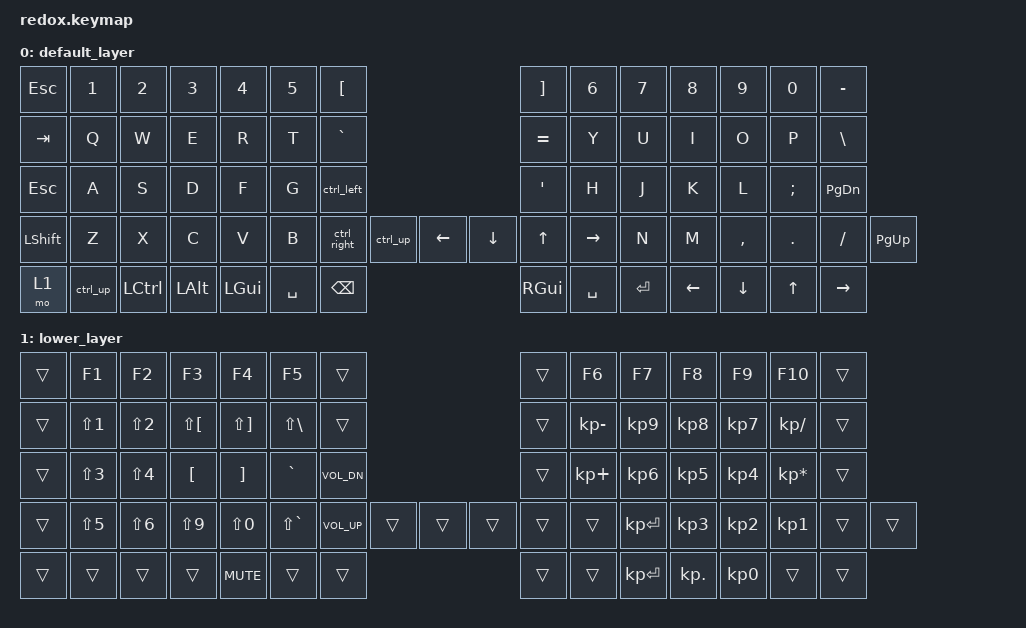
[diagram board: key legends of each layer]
/*
 * Copyright (c) 2021 The ZMK Contributors
 *
 * SPDX-License-Identifier: MIT
 */

#include <behaviors.dtsi>
#include <dt-bindings/zmk/keys.h>
#include <dt-bindings/zmk/bt.h>
#include <dt-bindings/zmk/ext_power.h>
#include <dt-bindings/zmk/outputs.h>
#include <dt-bindings/zmk/mouse.h>

/ {
    macros {
        ctrl_up: ctrl_up {
            label = "CTRL_UP";
            compatible = "zmk,behavior-macro";
            #binding-cells = <0>;
            bindings = <&macro_press &kp LCTRL>, <&macro_tap &kp UP>, <&macro_release &kp LCTRL>;
        };

        ctrl_left: ctrl_left {
            label = "CTRL_LEFT";
            compatible = "zmk,behavior-macro";
            #binding-cells = <0>;
            bindings = <&macro_press &kp LCTRL>, <&macro_tap &kp LEFT>, <&macro_release &kp LCTRL>;
        };

        ctrl_right: ctrl_right {
            label = "CTRL_RIGHT";
            compatible = "zmk,behavior-macro";
            #binding-cells = <0>;
            bindings = <&macro_press &kp LCTRL>, <&macro_tap &kp RIGHT>, <&macro_release &kp LCTRL>;
        };
    };

    keymap {
        compatible = "zmk,keymap";

        default_layer {
// --------------------------------------------------------------------------------------------------------------------------------
// | ESC   |  1  |  2  |   3   |  4  |  5  | [ |                   ---                | ] |  6    |  7    |  8    |  9   | 0  |    -     |
// | TAB   |  Q  |  W  |   E   |  R  |  T  | ` |           ---                | = |  Y    |  U    |  I    |  O   | P  |     \     |
// | ESC   |  A  |  S  |   D   |  F  |  G  |C_L|           ---                | ' |  H    |  J    |  K    |  L   | ;  |     PGDN  |
// | SHIFT |  Z  |  X  |   C   |  V  |  B  |C_R| C_U | --- | LEFT | DOWN | UP | RIGHT |  N    |  M    |  ,    |  .   | /  | PGUP |
// | MO(1) |C_U|LCTRL|LALT |    LGUI    |SPACE|BSPC| --- | RGUI | SPACE |    ENTER     | LEFT  | DOWN | UP |   RIGHT   |
            bindings = <
&kp ESC   &kp N1   &kp N2   &kp N3    &kp N4    &kp N5    &kp LBKT                             &kp RBKT   &kp N6    &kp N7   &kp N8     &kp N9    &kp N0    &kp MINUS
&kp TAB   &kp Q    &kp W    &kp E     &kp R     &kp T     &kp GRAVE                            &kp EQUAL  &kp Y     &kp U    &kp I      &kp O     &kp P     &kp BSLH
&kp ESC   &kp A    &kp S    &kp D     &kp F     &kp G     &ctrl_left                           &kp SQT    &kp H     &kp J    &kp K      &kp L     &kp SEMI  &kp PG_DN
&kp LSHFT &kp Z    &kp X    &kp C     &kp V     &kp B     &ctrl_right &ctrl_up  &kp LEFT &kp DOWN &kp UP &kp RIGHT &kp N     &kp M    &kp COMMA  &kp DOT   &kp FSLH  &kp PG_UP
&mo 1     &ctrl_up &kp LCTRL &kp LALT      &kp LGUI       &kp SPACE   &kp BSPC  &kp RGUI &kp SPACE        &kp RET        &kp LEFT  &kp DOWN  &kp UP    &kp RIGHT
            >;
        };

        lower_layer {
// --------------------------------------------------------------------------------------------------------------------------------
// | TRANS   |  F1   |  F2   |   F3   |  F4  |  F5  | TRANS |                   ---                | TRANS |  F6   |  F7   |  F8   |  F9  | F10 | TRANS   |
// | TRANS   |S(N1)  |S(N2)  |S(LBKT) |S(RBKT)|S(BSLH)|TRANS |           ---                | TRANS | PMNS  |  P9   |  P8   |  P7  | PSLS | TRANS  |
// | TRANS   |S(N3)  |S(N4)  | LBKT   | RBKT  | GRV   | VOLD |           ---                | TRANS | PPLS  |  P6   |  P5   |  P4  | PAST | TRANS  |
// | TRANS   |S(N5)  |S(N6)  | S(N9)  | S(N0) |S(GRV) | VOLU | TRANS | --- | TRANS |TRANS|TRANS|TRANS| PENT  |  P3   |  P2   |  P1  | TRANS| TRANS |
// | TRANS   | TRANS | TRANS | TRANS  |    MUTE       | TRANS | TRANS | --- | TRANS |TRANS|     PENT     | PDOT  |  P0   |TRANS | TRANS |
            bindings = <
&trans    &kp F1     &kp F2     &kp F3        &kp F4        &kp F5        &trans                                &trans     &kp F6     &kp F7     &kp F8     &kp F9     &kp F10    &trans
&trans    &kp LS(N1) &kp LS(N2) &kp LS(LBKT)  &kp LS(RBKT)  &kp LS(BSLH)  &trans                               &trans     &kp KP_MINUS &kp KP_N9 &kp KP_N8  &kp KP_N7  &kp KP_SLASH &trans
&trans    &kp LS(N3) &kp LS(N4) &kp LBKT      &kp RBKT      &kp GRAVE     &kp C_VOL_DN                         &trans     &kp KP_PLUS  &kp KP_N6 &kp KP_N5  &kp KP_N4  &kp KP_MULTIPLY &trans
&trans    &kp LS(N5) &kp LS(N6) &kp LS(N9)    &kp LS(N0)    &kp LS(GRAVE) &kp C_VOL_UP &trans &trans &trans &trans &trans &kp KP_ENTER &kp KP_N3 &kp KP_N2 &kp KP_N1 &trans &trans
&trans    &trans     &trans     &trans              &kp K_MUTE            &trans       &trans &trans &trans        &kp KP_ENTER         &kp KP_DOT  &kp KP_N0  &trans     &trans
            >;
        };
    };
};
